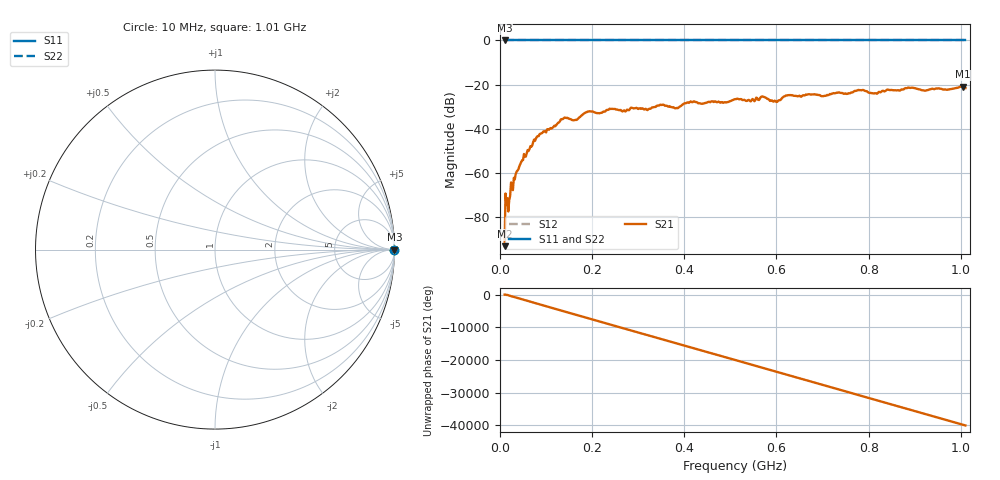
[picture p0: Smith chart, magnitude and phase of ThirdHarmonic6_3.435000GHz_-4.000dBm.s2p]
! 8/17/2025 11:03:23 AM
! C:\ANRITSUVNA\TEMP\TEMP.S2P
! CHANNEL.1
! TR.MEASUREMENT
! RAW.DATA
! RF.CORRECTION.OFF
! AVERAGING.OFF
! IF.BANDWIDTH: 5KHZ
! SWEEPTYPE:  FREQ.SWEEP(Linear)
! Reference Plane Port Info
! PORT:  PORT1  PORT2
! DISTANCE:  0  m  0  m
! TIME:  0  s  0  s
! PHASE.OFFSET:  0  deg.  0  deg.
! LOSS:  0  dB  0  dB
! REF.LOSS:  0  dB  0  dB
! REF.FREQ:  0  Hz  0  Hz
! Power Info
! POWER:  -20  dBm  -20  dBm
! EFF.POWER:  -20  dBm  -20  dBm
! SOURCE.ATTEN:  0  dB  0  dB
! TEST.ATTEN:  0  dB  0  dB
# GHZ S RI R 50.0
! FREQ.GHZ  S11RE  S11IM  S21RE  S21IM  S12RE  S12IM  S22RE  S22IM
!; PortSelection: Port_12
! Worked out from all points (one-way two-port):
!   501 points, 10 MHz to 1.01 GHz, reference 50 ohm
!   highest |S21| = -20.95 dB at 1.004 GHz (marker M1); lowest = -93.3 dB at 10 MHz (marker M2)
!   lowest |S11| = 0.0 dB at 10 MHz (marker M3)
!   |S11| at or under -10 dB: nowhere
!   |S22| runs from 0.0 to 0.0 dB; largest |S21 - S12| = 1.1
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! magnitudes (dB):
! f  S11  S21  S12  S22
! 10 MHz  0.0  -93.3  0.0  0.0
! 18 MHz  0.0  -77.6  0.0  0.0
! 38 MHz  0.0  -59.0  0.0  0.0
! 78 MHz  0.0  -44.5  0.0  0.0
! 136 MHz  0.0  -35.7  0.0  0.0
! 164 MHz  0.0  -36.0  0.0  0.0
! 178 MHz  0.0  -33.9  0.0  0.0
! 194 MHz  0.0  -32.1  0.0  0.0
! 322 MHz  0.0  -31.2  0.0  0.0
! 344 MHz  0.0  -29.6  0.0  0.0
! 382 MHz  0.0  -30.8  0.0  0.0
! 416 MHz  0.0  -27.9  0.0  0.0
! 510 MHz  0.0  -26.6  0.0  0.0
! 570 MHz  0.0  -25.4  0.0  0.0
! 598 MHz  0.0  -27.6  0.0  0.0
! 624 MHz  0.0  -24.9  0.0  0.0
! 678 MHz  0.0  -24.5  0.0  0.0
! 782 MHz  0.0  -22.5  0.0  0.0
! 814 MHz  0.0  -23.9  0.0  0.0
! 844 MHz  0.0  -22.4  0.0  0.0
! 1.004 GHz  0.0  -20.9  0.0  0.0
! 1.01 GHz  0.0  -21.6  0.0  0.0
